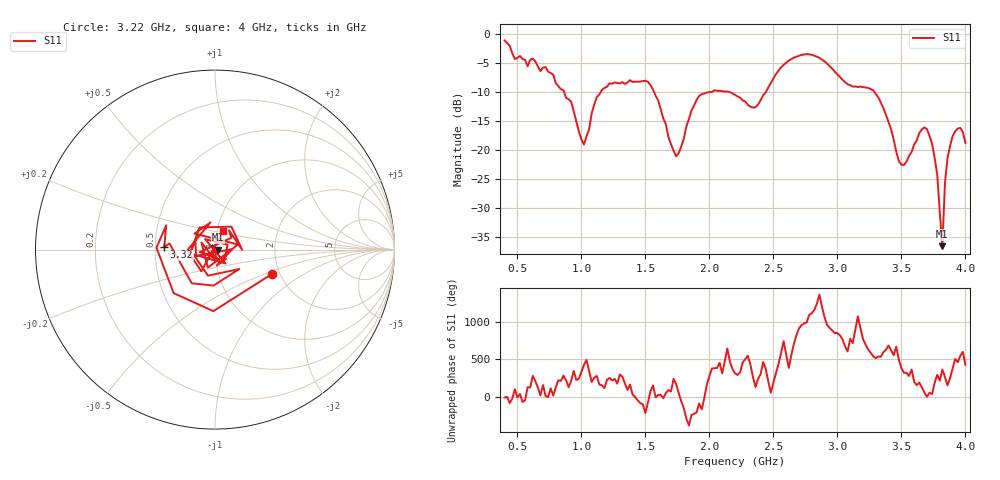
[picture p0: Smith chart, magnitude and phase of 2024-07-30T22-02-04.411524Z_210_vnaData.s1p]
!Created with skrf (http://scikit-rf.org).
# Hz S RI R 50.0
!freq ReS11 ImS11
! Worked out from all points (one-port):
!   181 points, 400 MHz to 4 GHz, reference 50 ohm
!   lowest |S11| = -36.5 dB at 3.82 GHz (marker M1), VSWR 1.03, Z = 51.5 + j0.0526 ohm
!   |S11| at or under -10 dB: 1.567 GHz to 2.014 GHz (446.3 MHz wide, 24.9 % of centre); 2.155 GHz to 2.442 GHz (286.6 MHz wide, 12.5 % of centre); 3.289 GHz to end of sweep (the widest 3 of 4)
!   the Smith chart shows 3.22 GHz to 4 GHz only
!   S11 on the Smith chart (normalised r, x): 3.22 GHz: 1.82, -0.56; 3.32 GHz: 0.56, +0.02; 4 GHz: 1.07, +0.23
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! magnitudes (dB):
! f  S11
! 400 MHz  -1.2
! 480 MHz  -4.3
! 620 MHz  -4.3
! 860 MHz  -9.7
! 1.02 GHz  -19.0
! 1.12 GHz  -10.9
! 1.3 GHz  -8.5
! 1.52 GHz  -8.3
! 1.72 GHz  -20.1
! 1.76 GHz  -20.5
! 1.92 GHz  -10.7
! 2.2 GHz  -10.5
! 2.36 GHz  -12.6
! 2.66 GHz  -4.1
! 2.86 GHz  -4.2
! 3.1 GHz  -8.8
! 3.22 GHz  -9.2
! 3.32 GHz  -11.0
! 3.48 GHz  -21.9
! 3.56 GHz  -21.0
! 3.66 GHz  -16.4
! 3.72 GHz  -17.5
! 3.78 GHz  -24.2
! 3.82 GHz  -36.5
! 3.84 GHz  -25.8
! 3.88 GHz  -19.3
! 3.96 GHz  -16.2
! 4 GHz  -18.7
